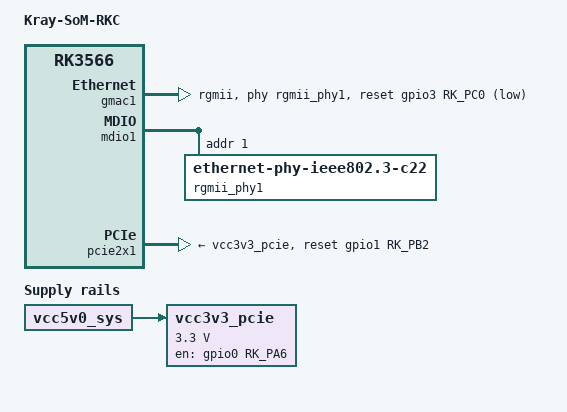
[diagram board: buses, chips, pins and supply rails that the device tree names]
// SPDX-License-Identifier: (GPL-2.0+ OR MIT)
/*
 * Kray-SoM-RKC: RK3566, DDR3L, RK809-5, RTL8211F Gigabit Ethernet,
 * PCIe 2.0 x1 M.2 slot, USB, HDMI.
 */

/dts-v1/;
#include "rk3566-kray-som-rkc.dtsi"

/ {
	model = "Kray-SoM-RKC";
	compatible = "kray,som-rkc", "rockchip,rk3566";

	vcc3v3_pcie: regulator-vcc3v3-pcie {
		compatible = "regulator-fixed";
		regulator-name = "vcc3v3_pcie";
		regulator-min-microvolt = <3300000>;
		regulator-max-microvolt = <3300000>;
		enable-active-high;
		/* PCIe_PWR_EN */
		gpio = <&gpio0 RK_PA6 GPIO_ACTIVE_HIGH>;
		startup-delay-us = <5000>;
		vin-supply = <&vcc5v0_sys>;
	};
};

/*
 * Ethernet: Realtek RTL8211F-CG on RGMII, clocked by its own 25 MHz crystal.
 * The PHY reset (ETH_GMAC_RSTn) is on GPIO3_C0: while it is held the PHY's
 * internal 1.0 V regulator stays off and the PHY does not answer on MDIO.
 */
&gmac1 {
	phy-mode = "rgmii";
	clock_in_out = "input";

	snps,reset-gpio = <&gpio3 RK_PC0 GPIO_ACTIVE_LOW>;
	snps,reset-active-low;
	/* RTL8211F: >= 10 ms in reset, >= 72 ms before MDIO access */
	snps,reset-delays-us = <0 20000 100000>;

	assigned-clocks = <&cru SCLK_GMAC1_RX_TX>, <&cru SCLK_GMAC1>;
	assigned-clock-parents = <&cru SCLK_GMAC1_RGMII_SPEED>, <&cru CLK_MAC1_2TOP>;
	assigned-clock-rates = <0>, <125000000>;

	pinctrl-names = "default";
	pinctrl-0 = <&gmac1m1_miim
		     &gmac1m1_tx_bus2_level3
		     &gmac1m1_rx_bus2
		     &gmac1m1_rgmii_clk_level2
		     &gmac1m1_rgmii_bus_level3>;

	tx_delay = <0x24>;
	rx_delay = <0x08>;

	phy-handle = <&rgmii_phy1>;
	status = "okay";
};

&mdio1 {
	/* PHYAD[2:0] strapped to 001 */
	rgmii_phy1: ethernet-phy@1 {
		compatible = "ethernet-phy-ieee802.3-c22";
		reg = <0x1>;
	};
};

/* PCIe 2.0 x1 to the M.2 slot, PERST# on GPIO1_B2 */
&pcie2x1 {
	reset-gpios = <&gpio1 RK_PB2 GPIO_ACTIVE_HIGH>;
	vpcie3v3-supply = <&vcc3v3_pcie>;
	status = "okay";
};
